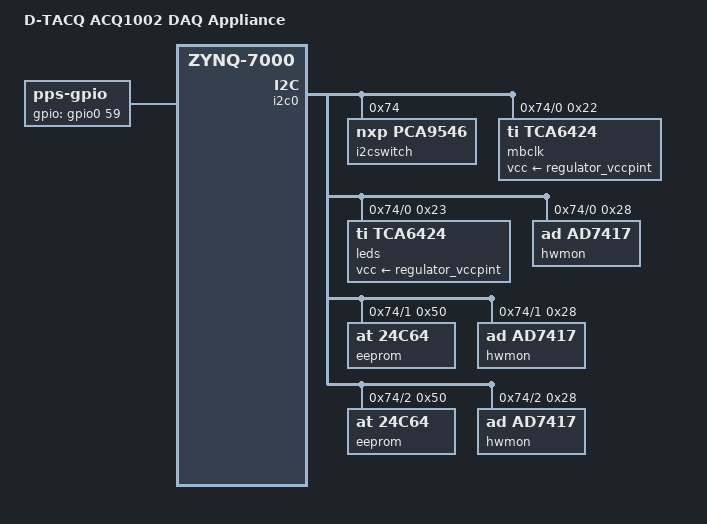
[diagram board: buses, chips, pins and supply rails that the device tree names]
/*
 * Copyright (C) 2013 D-TACQ Solutions Ltd - http://www.d-tacq.com/
 *
 * This program is free software; you can redistribute it and/or modify
 * it under the terms of the GNU General Public License version 2 as
 * published by the Free Software Foundation.
 */

/dts-v1/;

#include "acq400_common.dtsi"

/ {
	model = "D-TACQ ACQ1002 DAQ Appliance";
	compatible = "xlnx,zynq-zed", "xlnx,zynq-7000";



	chosen {
		bootargs = "";
		stdout-path = "serial0:115200n8";
		build="__DATE__";	
		descr="device tree for ACQ1002, TWO SITES, RADCELF i2c";
		notes="i2c mux back at correct address 0x74 hack for 314";
		model="acq1002";
		compatible_model="acq100?";		
	};
	
	pps {
		/* TRG.d5 on ptype */
		gpios = <&gpio0 59 0>;
		
		compatible = "pps-gpio";
		status = "okay";	
	};
	pps1 {
		/* TRG.d6 on ptype ... we're not sure which one it will be */
		gpios = <&gpio0 60 0>;
	
		compatible = "pps-gpio";
		status = "disabled";	
	};
};

&i2c0 {
	status = "okay";
	
	i2c-reset = <&gpio0 46 0>;
	i2cswitch@74 {
		compatible = "nxp,pca9546";
		#address-cells = <1>;
		#size-cells = <0>;
		reg = <0x74>;
		
		i2c@0 {
			#address-cells = <1>;
			#size-cells = <0>;
			reg = <0>;
		
			mbclk: gpio@22 {
				compatible="ti,tca6424";
				vcc-supply = <&regulator_vccpint>;				
				interrupts = <0 0>;
				reg=<0x22>;
			};	
			leds: gpio@23 {
				compatible="ti,tca6424";
				vcc-supply = <&regulator_vccpint>;
				interrupt-parent = <&intc>;
				interrupts = <0 0>;
				reg=<0x23>;
			};			
			hwmon@28 {
				compatible="ad,ad7417";
				reg=<0x28>;
			};
		};

		elf1: i2c@1 {
			#address-cells = <1>;
			#size-cells = <0>;
			reg = <0x1>;
	
			eeprom@50 {
				compatible = "at,24c64";
				reg = <0x50>;
			};
			hwmon@28 {
				compatible="ad,ad7417";
				reg=<0x28>;
			};
		};
		elf2: i2c@2 {
			#address-cells = <1>;
			#size-cells = <0>;
			reg = <0x2>;
		
			eeprom@50 {
				compatible = "at,24c64";
				reg = <0x50>;
			};
			hwmon@28 {
				compatible="ad,ad7417";
				reg=<0x28>;
			};
		};
		
		celf: i2c@3 {
			status = "disabled";
			#address-cells = <1>;
			#size-cells = <0>;
			reg = <0x3>;
												
			hwmon@28 {
				compatible="ad,ad7417";
				reg=<0x28>;
			};
												
			hwmon@29 {
				compatible="ad,ad7417";
				reg=<0x29>;
			};					
			leds2: gpio@20 {
				compatible="nxp,tca6408";
				reg=<0x20>;				
			};										
		};		
	};
};

&amba {
	sitec: acq2006sc@40000000 {
		reg = <0x40000000 0x10000>;
		compatible = "D-TACQ,acq1001sc";
		site = <0x0>;
	};
	site1: acq400fmc@40010000 {
		compatible = "D-TACQ,acq400fmc";
		reg = <0x40010000 0x10000>;
		interrupts = <0x0 59 0x4>; 
		interrupt-parent = <&intc>;
		site = <0x1>;
	};
	site2: acq400fmc@40020000 {
		compatible = "D-TACQ,acq400fmc";
		reg = <0x40020000 0x10000>;
		interrupts = <0x0 57 0x4>;
		interrupt-parent = <&intc>;
		site = <0x2>;
	};	
};


